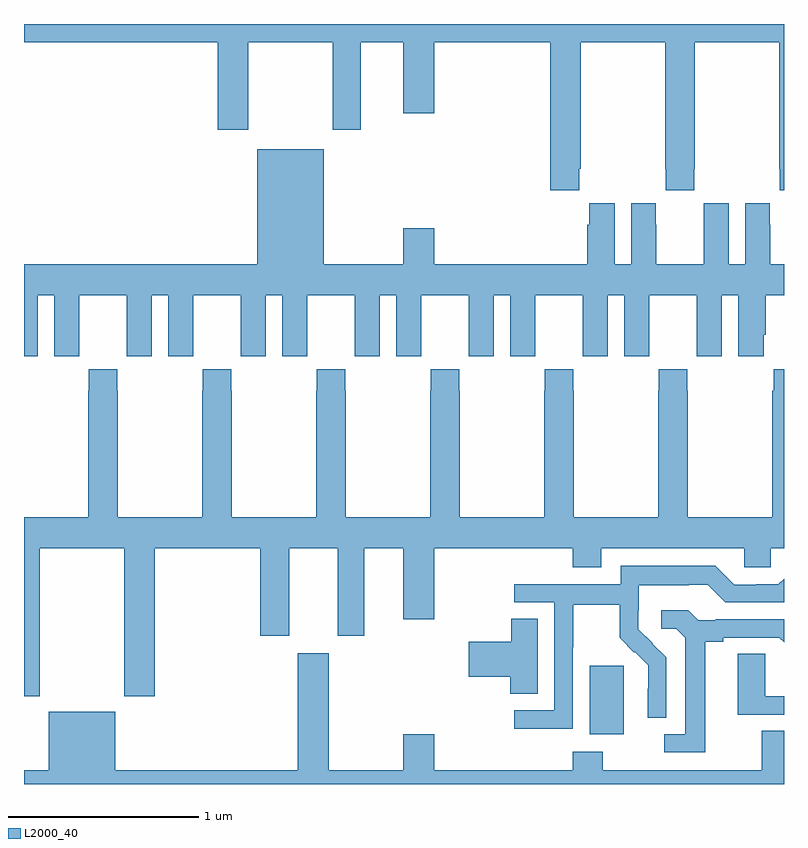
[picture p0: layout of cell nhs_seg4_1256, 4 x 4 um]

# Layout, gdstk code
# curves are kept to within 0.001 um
import gdstk
lib = gdstk.Library(unit=1e-6, precision=1e-09)
def R(c, l, rs):  # rectangles x0, y0, x1, y1
    for r in rs: c.add(gdstk.rectangle(r[:2], r[2:], *l))
def P(c, l, *ps):  # polygons
    for p in ps: c.add(gdstk.Polygon(p, *l))
L2000_40 = (2000, 40)

nhs_seg4_1256 = lib.new_cell('nhs_seg4_1256')
R(nhs_seg4_1256, L2000_40, [(177.977,809.162,178.156,809.523)])
P(nhs_seg4_1256, L2000_40, [(177.923,812.137),(177.93,812.137),(177.93,812.804),(178.375,812.804),(178.375,812.137),(178.377,812.137),(178.377,812.025),(178.527,812.025),(178.527,812.137),(178.53,812.137),(178.53,812.804),(178.975,812.804),(178.975,812.137),(178.977,812.137),(178.977,812.025),(179,812.025),(179,812.9),(175,812.9),(175,812.804),(176.021,812.804),(176.021,812.343),(176.181,812.343),(176.181,812.804),(176.626,812.804),(176.626,812.343),(176.773,812.343),(176.773,812.804),(176.996,812.804),(176.996,812.43),(177.16,812.43),(177.16,812.804),(177.77,812.804),(177.77,812.025),(177.923,812.025)],
  [(178.196,811.636),(178.108,811.636),(178.108,811.957),(177.974,811.957),(177.974,811.844),(177.965,811.844),(177.965,811.636),(177.16,811.636),(177.16,811.825),(176.996,811.825),(176.996,811.636),(176.578,811.636),(176.578,812.242),(176.228,812.242),(176.228,811.636),(175,811.636),(175,811.152),(175.072,811.152),(175.072,811.472),(175.16,811.472),(175.16,811.152),(175.29,811.152),(175.29,811.264),(175.291,811.264),(175.291,811.472),(175.541,811.472),(175.541,811.264),(175.542,811.264),(175.542,811.152),(175.672,811.152),(175.672,811.472),(175.76,811.472),(175.76,811.152),(175.89,811.152),(175.89,811.264),(175.891,811.264),(175.891,811.472),(176.141,811.472),(176.141,811.264),(176.142,811.264),(176.142,811.152),(176.272,811.152),(176.272,811.472),(176.36,811.472),(176.36,811.152),(176.49,811.152),(176.49,811.264),(176.491,811.264),(176.491,811.472),(176.741,811.472),(176.741,811.264),(176.742,811.264),(176.742,811.152),(176.872,811.152),(176.872,811.472),(176.96,811.472),(176.96,811.152),(177.09,811.152),(177.09,811.264),(177.091,811.264),(177.091,811.472),(177.341,811.472),(177.341,811.264),(177.342,811.264),(177.342,811.152),(177.472,811.152),(177.472,811.472),(177.56,811.472),(177.56,811.152),(177.69,811.152),(177.69,811.264),(177.691,811.264),(177.691,811.472),(177.941,811.472),(177.941,811.264),(177.942,811.264),(177.942,811.152),(178.072,811.152),(178.072,811.472),(178.16,811.472),(178.16,811.152),(178.29,811.152),(178.29,811.264),(178.291,811.264),(178.291,811.472),(178.541,811.472),(178.541,811.264),(178.542,811.264),(178.542,811.152),(178.672,811.152),(178.672,811.472),(178.76,811.472),(178.76,811.152),(178.894,811.152),(178.894,811.264),(178.904,811.264),(178.904,811.472),(179,811.472),(179,811.636),(178.927,811.636),(178.927,811.844),(178.926,811.844),(178.926,811.957),(178.796,811.957),(178.796,811.636),(178.708,811.636),(178.708,811.957),(178.578,811.957),(178.578,811.844),(178.577,811.844),(178.577,811.636),(178.327,811.636),(178.327,811.844),(178.326,811.844),(178.326,811.957),(178.196,811.957)],
  [(175.083,810.14),(175.528,810.14),(175.528,809.361),(175.688,809.361),(175.688,810.14),(176.243,810.14),(176.243,809.679),(176.395,809.679),(176.395,810.14),(176.651,810.14),(176.651,809.679),(176.791,809.679),(176.791,810.14),(176.996,810.14),(176.996,809.766),(177.16,809.766),(177.16,810.14),(177.887,810.14),(177.887,810.041),(178.039,810.041),(178.039,810.14),(178.791,810.14),(178.791,810.042),(178.929,810.042),(178.929,810.14),(179,810.14),(179,811.084),(178.945,811.084),(178.945,810.971),(178.939,810.971),(178.939,810.304),(178.494,810.304),(178.494,810.971),(178.491,810.971),(178.491,811.084),(178.341,811.084),(178.341,810.971),(178.339,810.971),(178.339,810.304),(177.894,810.304),(177.894,810.971),(177.891,810.971),(177.891,811.084),(177.741,811.084),(177.741,810.971),(177.739,810.971),(177.739,810.304),(177.294,810.304),(177.294,810.971),(177.291,810.971),(177.291,811.084),(177.141,811.084),(177.141,810.971),(177.139,810.971),(177.139,810.304),(176.694,810.304),(176.694,810.971),(176.691,810.971),(176.691,811.084),(176.541,811.084),(176.541,810.971),(176.539,810.971),(176.539,810.304),(176.094,810.304),(176.094,810.971),(176.091,810.971),(176.091,811.084),(175.941,811.084),(175.941,810.971),(175.939,810.971),(175.939,810.304),(175.494,810.304),(175.494,810.971),(175.491,810.971),(175.491,811.084),(175.341,811.084),(175.341,810.971),(175.339,810.971),(175.339,810.304),(175,810.304),(175,809.361),(175.083,809.361)],
  [(177.888,809.62),(177.891,809.62),(177.891,809.844),(178.135,809.844),(178.135,809.669),(178.212,809.592),(178.215,809.595),(178.286,809.525),(178.286,809.402),(178.284,809.402),(178.284,809.248),(178.38,809.248),(178.38,809.566),(178.234,809.714),(178.234,809.811),(178.236,809.811),(178.236,809.945),(178.499,809.945),(178.499,809.949),(178.599,809.949),(178.692,809.856),(179,809.856),(179,809.981),(178.971,809.952),(178.853,809.952),(178.853,809.949),(178.737,809.949),(178.637,810.049),(178.14,810.049),(178.14,809.952),(177.579,809.952),(177.579,809.856),(177.792,809.856),(177.792,809.289),(177.579,809.289),(177.579,809.191),(177.888,809.191)],
  [(178.585,809.648),(178.681,809.648),(178.681,809.67),(178.976,809.67),(179,809.646),(179,809.766),(178.642,809.766),(178.642,809.763),(178.548,809.763),(178.496,809.815),(178.353,809.815),(178.353,809.718),(178.434,809.718),(178.481,809.671),(178.481,809.163),(178.371,809.163),(178.371,809.067),(178.585,809.067)],
  [(177.703,809.771),(177.565,809.771),(177.565,809.648),(177.342,809.648),(177.342,809.465),(177.56,809.465),(177.56,809.374),(177.703,809.374)],
  [(179,809.18),(178.883,809.18),(178.883,808.972),(178.047,808.972),(178.047,809.071),(177.887,809.071),(177.887,808.972),(177.16,808.972),(177.16,809.161),(176.996,809.161),(176.996,808.972),(176.605,808.972),(176.605,809.587),(176.441,809.587),(176.441,808.972),(175.48,808.972),(175.48,809.281),(175.13,809.281),(175.13,808.972),(175,808.972),(175,808.9),(179,808.9)],
  [(179,809.361),(178.902,809.361),(178.902,809.585),(178.757,809.585),(178.757,809.265),(179,809.265)])

lib.write_gds('nhs_seg4_1256.gds')
